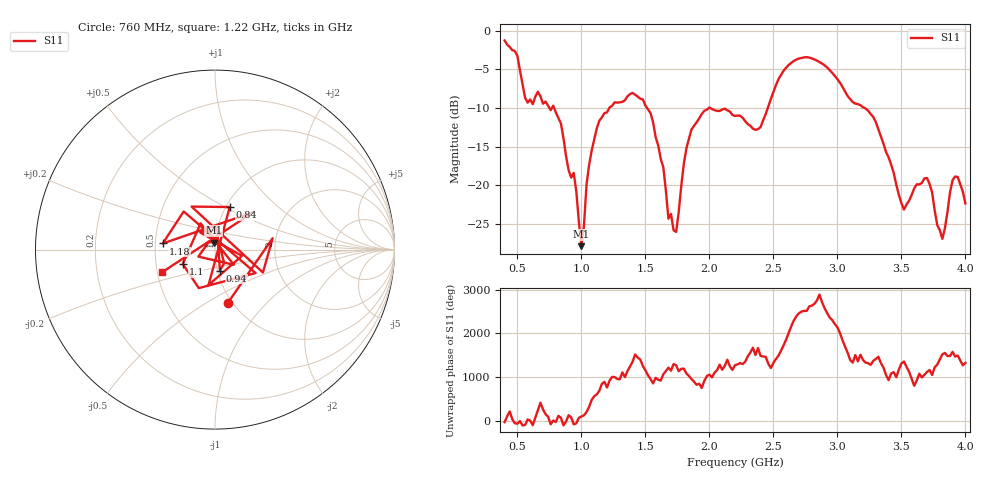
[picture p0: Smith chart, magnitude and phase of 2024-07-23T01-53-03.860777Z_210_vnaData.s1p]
!Created with skrf (http://scikit-rf.org).
# Hz S RI R 50.0
!freq ReS11 ImS11
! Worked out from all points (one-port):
!   181 points, 400 MHz to 4 GHz, reference 50 ohm
!   lowest |S11| = -27.9 dB at 1 GHz (marker M1), VSWR 1.08, Z = 49.1 + j3.89 ohm
!   |S11| at or under -10 dB: 1.513 GHz to 1.996 GHz (482.6 MHz wide, 27.5 % of centre); 2.007 GHz to 2.456 GHz (449.8 MHz wide, 20.2 % of centre); 3.211 GHz to end of sweep (the widest 3 of 5)
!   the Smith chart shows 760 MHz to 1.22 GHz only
!   S11 on the Smith chart (normalised r, x): 760 MHz: 0.95, -0.63; 840 MHz: 1.04, +0.53; 940 MHz: 1.03, -0.24; 1.1 GHz: 0.69, -0.12; 1.18 GHz: 0.55, +0.04; 1.22 GHz: 0.53, -0.15
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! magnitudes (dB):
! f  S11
! 400 MHz  -1.3
! 500 MHz  -3.2
! 580 MHz  -9.3
! 760 MHz  -10.3
! 840 MHz  -12.0
! 860 MHz  -13.9
! 940 MHz  -18.4
! 1 GHz  -27.9
! 1.1 GHz  -14.1
! 1.18 GHz  -10.7
! 1.22 GHz  -9.9
! 1.3 GHz  -9.3
! 1.54 GHz  -10.7
! 1.64 GHz  -17.7
! 1.68 GHz  -24.4
! 1.76 GHz  -23.5
! 1.86 GHz  -12.8
! 2.2 GHz  -11.0
! 2.4 GHz  -12.5
! 2.66 GHz  -3.9
! 3.1 GHz  -8.9
! 3.28 GHz  -11.2
! 3.52 GHz  -23.2
! 3.56 GHz  -22.0
! 3.7 GHz  -19.1
! 3.82 GHz  -27.0
! 3.9 GHz  -19.4
! 4 GHz  -22.4
